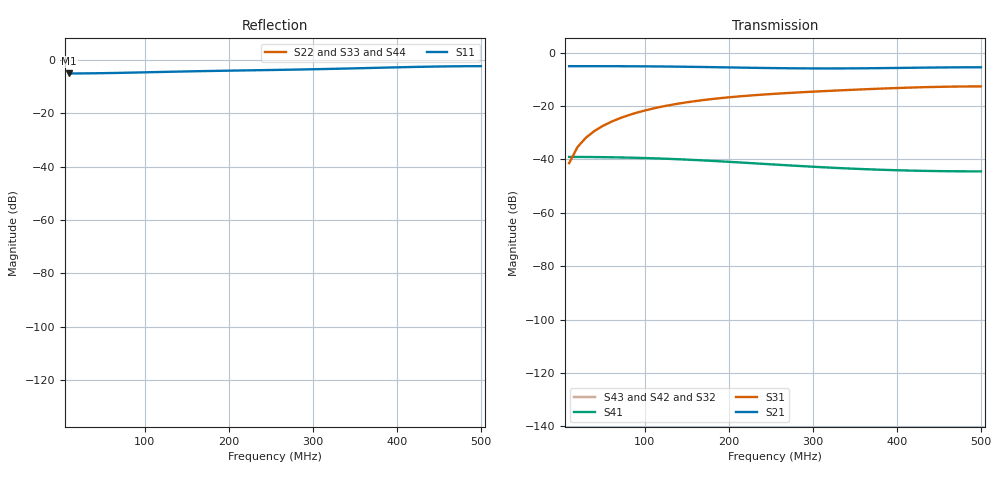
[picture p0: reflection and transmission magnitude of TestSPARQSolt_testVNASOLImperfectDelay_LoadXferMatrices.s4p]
# MHz MA S R 50.0
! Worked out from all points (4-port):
!   50 points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, 10 MHz to 500 MHz, reference 50 ohm
!   strongest paths, dB at 10 MHz, 130 MHz, 260 MHz, 380 MHz, 500 MHz:
!     S21: -5.1, -5.3, -5.8, -5.8, -5.5
!     S31: -41.4, -19.7, -15.4, -13.5, -12.7
!     S41: -39.1, -39.8, -42.0, -43.9, -44.5
!     S43: -, -, -, -, -
!     S42: -, -, -, -, -
!     S32: -, -, -, -, -
!   lowest |S11| = -5.1 dB at 10 MHz (marker M1), VSWR 3.50, Z = 174 - j14.2 ohm
!   |S11| at or under -10 dB: nowhere
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10  0.5559 -2.9  0 0.0  0 0.0  0 0.0
    0.5555 -3.8  0 0.0  0 0.0  0 0.0
    0.008506 84.2  0 0.0  0 0.0  0 0.0
    0.01111 -4.7  0 0.0  0 0.0  0 0.0
30  0.5586 -8.8  0 0.0  0 0.0  0 0.0
    0.5554 -11.4  0 0.0  0 0.0  0 0.0
    0.02545 72.6  0 0.0  0 0.0  0 0.0
    0.01107 -14.0  0 0.0  0 0.0  0 0.0
50  0.5638 -14.7  0 0.0  0 0.0  0 0.0
    0.555 -19.0  0 0.0  0 0.0  0 0.0
    0.0422 61.0  0 0.0  0 0.0  0 0.0
    0.01098 -23.3  0 0.0  0 0.0  0 0.0
130  0.5985 -40.6  0 0.0  0 0.0  0 0.0
     0.5461 -49.5  0 0.0  0 0.0  0 0.0
     0.1038 14.7  0 0.0  0 0.0  0 0.0
     0.01019 -60.1  0 0.0  0 0.0  0 0.0
330  0.6825 -111.6  0 0.0  0 0.0  0 0.0
     0.5041 -119.3  0 0.0  0 0.0  0 0.0
     0.1951 -91.3  0 0.0  0 0.0  0 0.0
     0.006886 -134.7  0 0.0  0 0.0  0 0.0
410  0.7309 -142.2  0 0.0  0 0.0  0 0.0
     0.5168 -146.5  0 0.0  0 0.0  0 0.0
     0.2191 -131.9  0 0.0  0 0.0  0 0.0
     0.006195 -156.8  0 0.0  0 0.0  0 0.0
500  0.7619 180.0  0 0.0  0 0.0  0 0.0
     0.5298 180.0  0 0.0  0 0.0  0 0.0
     0.2321 180.0  0 0.0  0 0.0  0 0.0
     0.005952 180.0  0 0.0  0 0.0  0 0.0
